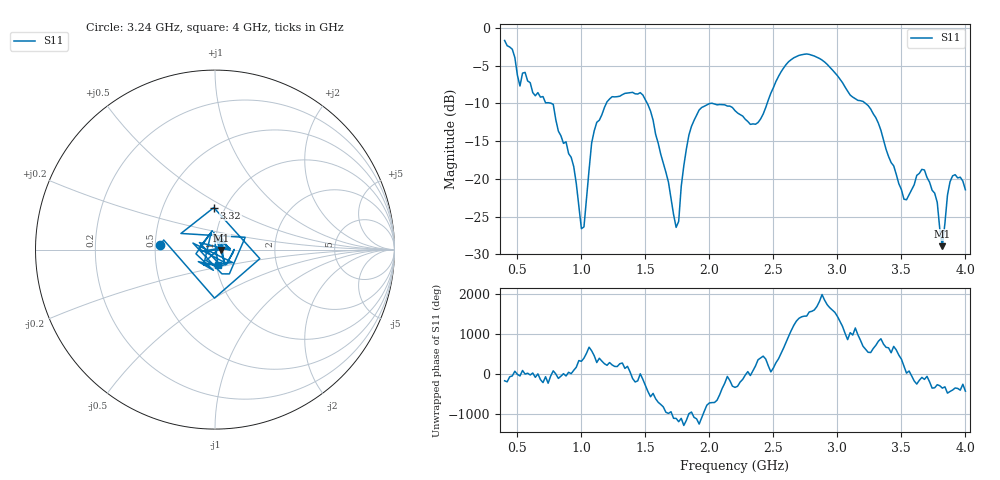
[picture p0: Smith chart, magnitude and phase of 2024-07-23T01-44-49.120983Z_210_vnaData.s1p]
!Created with skrf (http://scikit-rf.org).
# Hz S RI R 50.0
!freq ReS11 ImS11
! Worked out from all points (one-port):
!   181 points, 400 MHz to 4 GHz, reference 50 ohm
!   lowest |S11| = -28.9 dB at 3.82 GHz (marker M1), VSWR 1.07, Z = 53.7 - j0.225 ohm
!   |S11| at or under -10 dB: 766.1 MHz to 1.194 GHz (428.1 MHz wide, 43.7 % of centre); 1.515 GHz to 2.006 GHz (490.5 MHz wide, 27.9 % of centre); 3.221 GHz to end of sweep (the widest 3 of 4)
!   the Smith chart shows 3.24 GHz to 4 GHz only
!   S11 on the Smith chart (normalised r, x): 3.24 GHz: 0.53, +0.03; 3.32 GHz: 0.88, +0.44; 4 GHz: 1.02, -0.17
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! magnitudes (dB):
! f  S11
! 400 MHz  -1.6
! 520 MHz  -7.7
! 560 MHz  -5.9
! 780 MHz  -10.1
! 860 MHz  -15.3
! 940 MHz  -18.4
! 1 GHz  -26.6
! 1.02 GHz  -26.4
! 1.1 GHz  -13.6
! 1.3 GHz  -9.0
! 1.52 GHz  -10.2
! 1.76 GHz  -25.6
! 1.84 GHz  -14.2
! 1.92 GHz  -10.9
! 2.2 GHz  -10.9
! 2.38 GHz  -12.5
! 2.66 GHz  -3.9
! 2.88 GHz  -4.2
! 3.1 GHz  -8.9
! 3.24 GHz  -10.3
! 3.32 GHz  -12.6
! 3.52 GHz  -22.7
! 3.56 GHz  -22.1
! 3.68 GHz  -18.8
! 3.78 GHz  -23.1
! 3.82 GHz  -28.9
! 3.88 GHz  -20.4
! 4 GHz  -21.4
